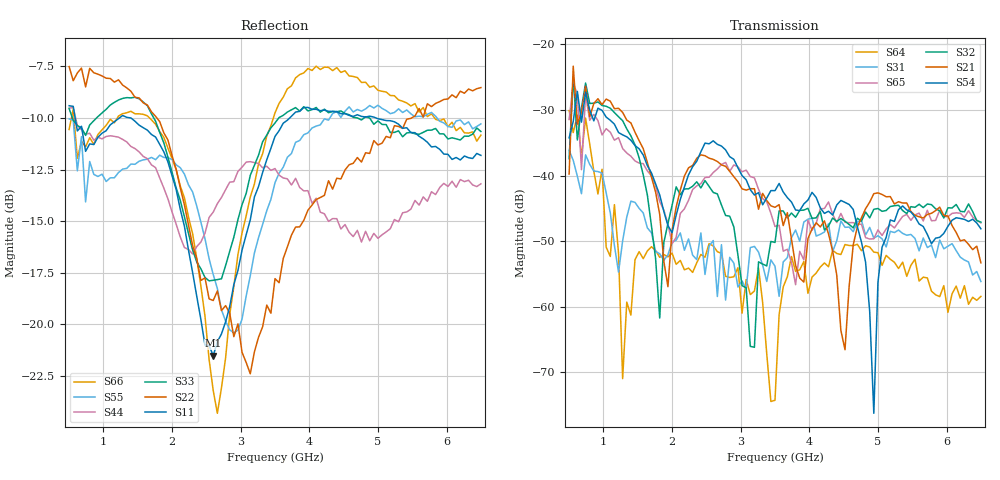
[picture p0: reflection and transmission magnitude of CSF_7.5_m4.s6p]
!Keysight Technologies,M9804A,MY58100912,A.14.10.03
!Date: Thursday, April 27, 2023 10:28:33
!Correction: S11(C  6-Port  )
!S12(C  6-Port  )
!S13(C  6-Port  )
!S14(C  6-Port  )
!S15(C  6-Port  )
!S16(C  6-Port  )
!S21(C  6-Port  )
!S22(C  6-Port  )
!S23(C  6-Port  )
!S24(C  6-Port  )
!S25(C  6-Port  )
!S26(C  6-Port  )
!S31(C  6-Port  )
!S32(C  6-Port  )
!S33(C  6-Port  )
!S34(C  6-Port  )
!S35(C  6-Port  )
!S36(C  6-Port  )
!S41(C  6-Port  )
!S42(C  6-Port  )
!S43(C  6-Port  )
!S44(C  6-Port  )
!S45(C  6-Port  )
!S46(C  6-Port  )
!S51(C  6-Port  )
!S52(C  6-Port  )
!S53(C  6-Port  )
!S54(C  6-Port  )
!S55(C  6-Port  )
!S56(C  6-Port  )
!S61(C  6-Port  )
!S62(C  6-Port  )
!S63(C  6-Port  )
!S64(C  6-Port  )
!S65(C  6-Port  )
!S66(C  6-Port  )
!S6P File: Measurement: :
# Hz S  RI  R 50
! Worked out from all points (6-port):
!   101 points, 500 MHz to 6.5 GHz, reference 50 ohm
!   strongest paths, dB at 500 MHz, 2 GHz, 3.5 GHz, 5 GHz, 6.5 GHz:
!     S54: -34.2, -48.7, -42.3, -56.3, -48.1
!     S21: -39.8, -48.4, -44.8, -42.6, -53.3
!     S32: -37.4, -44.5, -50.2, -45.0, -47.1
!     S65: -31.4, -50.4, -47.8, -48.3, -47.2
!     S31: -36.1, -50.2, -53.8, -49.2, -56.2
!     S64: -30.1, -51.8, -74.3, -51.8, -58.4
!   lowest |S11| = -21.5 dB at 2.6 GHz (marker M1), VSWR 1.18, Z = 42.5 + j2.07 ohm
!   |S11| at or under -10 dB: 588.3 MHz to 1.233 GHz (644.6 MHz wide, 70.8 % of centre); 1.4 GHz to 3.714 GHz (2.314 GHz wide, 90.5 % of centre); 4.971 GHz to end of sweep
